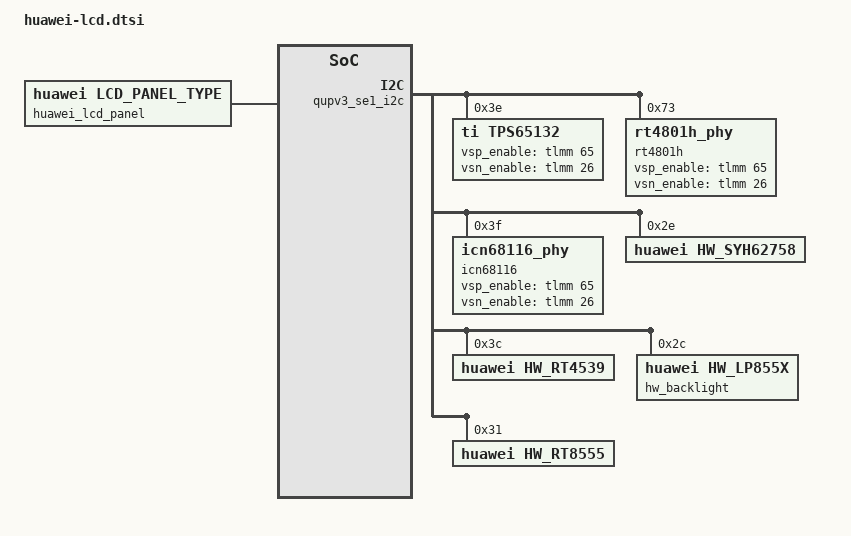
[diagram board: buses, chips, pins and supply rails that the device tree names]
#include "../../../lcdkit3.0/ags5/devkit_lcd_kit.dtsi"
&huawei_lcd_panel {
	compatible = "huawei,lcd_panel_type";
	/* auto_key_info @ name: product_id type: uint32 default: 0 */
	product_id = <13000>;
	/* auto_key_info @ name: product_type type: uint32 default: 0 */
	product_type = <0>;
	detect_type = <2>;
	/* auto_key_info @ name: gpio_id[2] type: int default: 0 */
	gpio_id = <52 68>;
	/* auto_key_info @ name: tp_reset_gpio type: uint32 default: 0 */
	tp_reset_gpio = <86>;
	bias_ctrl_type = <3>;
	/* auto_key_info @ name: vsp_gpio_id type: uint32 default: 0 */
	vsp_gpio_id = <65>;
	/* auto_key_info @ name: vsn_gpio_id type: uint32 default: 0 */
	vsn_gpio_id = <26>;
	/* auto_key_info @ name: lcd_reset_gpio type: uint32 default: 0 */
	lcd_reset_gpio = <82>;
	/* auto_key_info @ name: te_gpio type: uint32 default: 0 */
	te_gpio = <0>;
	/* auto_key_info @ name: bl_en_gpio type: uint32 default: 0 */
	bl_en_gpio = <27>;
	/* auto_key_info @ name: bl_is_dual type: uint32 default: 0 */
	bl_is_dual = <0>;
	/* auto_key_info @ name: bl_bias_together type: uint32 default: 1 */
	bl_bias_together = <0>;
	support_lcd_type = "LCD_KIT";
};

&mdss_dsi_phy0 {
	qcom,dsi-drive-adjustment = <1>;
	qcom,glbl-str-swi-cal-sel-ctrl = <0x01>;
	qcom,glbl-hstx-str-ctrl-0 = <0xff>;
	qcom,vreg-ctrl-0 = <0x52>;
};

&tlmm {
	bkl_active: bkl_active{
		mux {
			pins = "gpio27";
			function = "gpio";
		};

		config {
			pins = "gpio27";
			drive-strength = <2>;
			bias-disable;
		};
	};

	bkl_suspend: bkl_suspend{
		mux {
			pins = "gpio27";
			function = "gpio";
		};

		config {
			pins = "gpio27";
			drive-strength = <2>;
			bias-disable;
		};
	};
};

&qupv3_se1_i2c {
	status = "ok";

	tps65132@3e {
		compatible = "ti,tps65132";
		reg = <0x3e>;
		gpio_vsp_enable = <&tlmm 65 0x00>;
		gpio_vsn_enable = <&tlmm 26 0x00>;
		probe_no_init = <1>;
	};

	rt4801h@73 {
		compatible = "rt4801h_phy";
		reg = <0x73>;
		gpio_vsp_enable = <&tlmm 65 0x00>;
		gpio_vsn_enable = <&tlmm 26 0x00>;
		probe_no_init = <1>;
	};

	icn68116@3f {
		compatible = "icn68116_phy";
		reg = <0x3f>;
		gpio_vsp_enable = <&tlmm 65 0x00>;
		gpio_vsn_enable = <&tlmm 26 0x00>;
		probe_no_init = <1>;
	};

	hw_syh62758@2e {
		status = "ok";
		compatible = "huawei,hw_syh62758";
		reg = <0x2e>;
		bl_type_string = "62758";

		hw_syh62758,hw_enable = <1>;
		hw_syh62758,hw_en_gpio = <27>;
		hw_syh62758,gpio_offset = <1167>;
		hw_syh62758,before_bl_on_mdelay = <45>;
		hw_syh62758,bl_on_mdelay = <10>;
		hw_syh62758,hw_en_pull_low = <1>;
		hw_syh62758,backlight_ic_only_backlight = <1>;
		hw_syh62758,backlight_ic_backlight_level = <3932>;
		hw_syh62758,backlight_ic_kernel_ctrl_mode = <0>;
		hw_syh62758,backlight_ic_level_10000 = <0>;
		hw_syh62758,backlight_ic_bits_compatible = <1>;
		hw_syh62758,backlight_ic_level_lsb_cmd = <0x08 0x10 0x00 0xff>;
		hw_syh62758,backlight_ic_level_msb_cmd = <0x04 0x11 0x00 0x0f>;
		hw_syh62758,backlight_ic_pull_boost_support = <0>;
		hw_syh62758,backlight_ic_pull_boost_delay = <0>;
		hw_syh62758,backlight_ic_pull_down_vsp_cmd = <0x01 0x0d 0x00 0xff 0x00>;
		hw_syh62758,backlight_ic_pull_down_vsn_cmd = <0x01 0x0e 0x00 0xff 0x00>;
		hw_syh62758,backlight_ic_pull_down_boost_cmd = <0x01 0x0c 0x14 0xff 0x00>;
		hw_syh62758,backlight_ic_fault_check_support = <0>;
		hw_syh62758,backlight_ic_ovp_flag_cmd = <0x00 0x0f 0x02 0x02 0x00>;
		hw_syh62758,backlight_ic_ocp_flag_cmd = <0x00 0x0f 0x01 0x01 0x00>;
		hw_syh62758,backlight_ic_tsd_flag_cmd = <0x00 0x0f 0x40 0x40 0x00>;
		hw_syh62758,backlight_ic_kernel_init_cmd = <0x01 0x01 0x85 0xff 0x00
						0x01 0xa2 0x20 0xff 0x00
						0x01 0xa0 0xff 0xff 0x00
						0x01 0xa1 0xdf 0xff 0x00
						0x01 0xa3 0x3e 0xff 0x00
						0x01 0xa4 0x02 0xff 0x00
						0x01 0xa5 0x00 0xff 0x00
						0x01 0xa6 0x40 0xff 0x00
						0x01 0xa7 0xf7 0xff 0x00
						0x01 0xa9 0x80 0xff 0x00
						0x01 0xaa 0x0f 0xff 0x00
						0x01 0xae 0x0e 0xff 0x00
						0x01 0x9e 0x22 0xff 0x00
						0x01 0x16 0x3f 0xff 0x00
						0x01 0x00 0x00 0x00 0x00
						0x01 0x01 0x84 0xff 0x02
						0x01 0x9e 0x02 0xff 0x01
						0x01 0x9e 0x22 0xff 0x00>;
		hw_syh62758,backlight_ic_num_of_kernel_init_cmd = <18>;
	};

	hw_rt4539@3c {
		status = "ok";
		compatible = "huawei,hw_rt4539";
		reg = <0x3c>;
		bl_type_string = "4539";

		hw_rt4539,hw_enable = <1>;
		hw_rt4539,hw_en_gpio = <27>;
		hw_rt4539,gpio_offset = <1167>;
		hw_rt4539,before_bl_on_mdelay = <45>;
		hw_rt4539,bl_on_mdelay = <10>;
		hw_rt4539,hw_en_pull_low = <1>;
		hw_rt4539,backlight_ic_only_backlight = <1>;
		hw_rt4539,backlight_ic_backlight_level = <3932>;
		hw_rt4539,backlight_ic_kernel_ctrl_mode = <0>;
		hw_rt4539,backlight_ic_level_10000 = <0>;
		hw_rt4539,backlight_ic_bits_compatible = <1>;
		hw_rt4539,backlight_ic_level_lsb_cmd = <0x08 0x05 0x00 0xff>;
		hw_rt4539,backlight_ic_level_msb_cmd = <0x04 0x04 0x00 0x0f>;
		hw_rt4539,backlight_ic_set_msb_before_lsb = <1>;
		hw_rt4539,dimming_support = <0>;
		hw_rt4539,dimming_config_reg = <0x08>;
		hw_rt4539,dimming_config = <0x70>;
		hw_rt4539,backlight_ic_pull_boost_support = <0>;
		hw_rt4539,backlight_ic_pull_boost_delay = <0>;
		hw_rt4539,backlight_ic_pull_down_vsp_cmd = <0x01 0x0d 0x00 0xff 0x00>;
		hw_rt4539,backlight_ic_pull_down_vsn_cmd = <0x01 0x0e 0x00 0xff 0x00>;
		hw_rt4539,backlight_ic_pull_down_boost_cmd = <0x01 0x0c 0x14 0xff 0x00>;
		hw_rt4539,backlight_ic_fault_check_support = <0>;
		hw_rt4539,backlight_ic_ovp_flag_cmd = <0x00 0x0f 0x02 0x02 0x00>;
		hw_rt4539,backlight_ic_ocp_flag_cmd = <0x00 0x0f 0x01 0x01 0x00>;
		hw_rt4539,backlight_ic_tsd_flag_cmd = <0x00 0x0f 0x40 0x40 0x00>;
		hw_rt4539,backlight_ic_kernel_init_cmd = <0x01 0x0b 0x00 0xff 0x00
						0x01 0x00 0x24 0xff 0x00
						0x01 0x01 0x18 0xff 0x00
						0x01 0x02 0xA4 0xff 0x00
						0x01 0x03 0x24 0xff 0x00
						0x01 0x06 0x98 0xff 0x00
						0x01 0x07 0x01 0xff 0x00
						0x01 0x08 0x02 0xff 0x00
						0x01 0x09 0x78 0xff 0x00
						0x01 0x0a 0x0F 0xff 0x00
						0x01 0x0b 0xFE 0xff 0x00
						0x01 0xff 0x00 0xff 0x00>;
		hw_rt4539,backlight_ic_num_of_kernel_init_cmd = <12>;
	};

	hw_backlight@2c {
		status = "ok";
		compatible = "huawei,hw_lp855x";
		reg = <0x2c>;
		bl_type_string = "8556";

		hw_lp855x,hw_enable = <1>;
		hw_lp855x,hw_en_gpio = <27>;
		hw_lp855x,gpio_offset = <1167>;
		hw_lp855x,before_bl_on_mdelay = <45>;
		hw_lp855x,bl_on_mdelay = <10>;
		hw_lp855x,hw_en_pull_low = <1>;
		hw_lp855x,backlight_ic_only_backlight = <1>;
		hw_lp855x,backlight_ic_backlight_level = <3932>;
		hw_lp855x,backlight_ic_kernel_ctrl_mode = <0>;
		hw_lp855x,backlight_ic_level_10000 = <0>;
		hw_lp855x,backlight_ic_bits_compatible = <1>;
		hw_lp855x,backlight_ic_level_lsb_cmd = <0x08 0x10 0x00 0xff>;
		hw_lp855x,backlight_ic_level_msb_cmd = <0x04 0x11 0x00 0x0f>;
		hw_lp855x,backlight_ic_pull_boost_support = <0>;
		hw_lp855x,backlight_ic_pull_boost_delay = <0>;
		hw_lp855x,backlight_ic_pull_down_vsp_cmd = <0x01 0x0d 0x00 0xff 0x00>;
		hw_lp855x,backlight_ic_pull_down_vsn_cmd = <0x01 0x0e 0x00 0xff 0x00>;
		hw_lp855x,backlight_ic_pull_down_boost_cmd = <0x01 0x0c 0x14 0xff 0x00>;
		hw_lp855x,backlight_ic_fault_check_support = <0>;
		hw_lp855x,backlight_ic_ocp_flag_cmd = <0x00 0x02 0x04 0xff 0x00>;
		hw_lp855x,backlight_ic_kernel_init_cmd = <0x01 0x01 0x85 0xff 0x00
						0x01 0xa0 0xff 0xff 0x00
						0x01 0xa1 0xdf 0xff 0x00
						0x01 0xa2 0x28 0xff 0x00
						0x01 0xa3 0x52 0xff 0x00
						0x01 0xa4 0x12 0xff 0x00
						0x01 0xa5 0x00 0xff 0x00
						0x01 0xa6 0x40 0xff 0x00
						0x01 0xa7 0xf7 0xff 0x00
						0x01 0xa9 0x80 0xff 0x00
						0x01 0xaa 0x0f 0xff 0x00
						0x01 0xae 0x0e 0xff 0x00
						0x01 0x9e 0x22 0xff 0x00>;
		hw_lp855x,backlight_ic_num_of_kernel_init_cmd = <13>;
	};

	hw_rt8555@31 {
		status = "ok";
		compatible = "huawei,hw_rt8555";
		reg = <0x31>;
		bl_type_string = "8555";

		hw_rt8555,hw_enable = <1>;
		hw_rt8555,hw_en_gpio = <27>;
		hw_rt8555,gpio_offset = <1167>;
		hw_rt8555,before_bl_on_mdelay = <45>;
		hw_rt8555,bl_on_mdelay = <10>;
		hw_rt8555,hw_en_pull_low = <1>;
		hw_rt8555,backlight_ic_only_backlight = <1>;
		hw_rt8555,backlight_ic_backlight_level = <1023>;
		hw_rt8555,backlight_ic_kernel_ctrl_mode = <0>;
		hw_rt8555,backlight_ic_level_10000 = <0>;
		hw_rt8555,backlight_ic_bits_compatible = <1>;
		hw_rt8555,backlight_ic_level_lsb_cmd = <0x08 0x04 0x00 0xff>;
		hw_rt8555,backlight_ic_level_msb_cmd = <0x02 0x05 0x00 0x03>;
		hw_rt8555,dimming_support = <1>;
		hw_rt8555,dimming_config_reg = <0x08>;
		hw_rt8555,dimming_config = <0x70>;
		hw_rt8555,backlight_ic_pull_boost_support = <0>;
		hw_rt8555,backlight_ic_pull_boost_delay = <0>;
		hw_rt8555,backlight_ic_pull_down_vsp_cmd = <0x01 0x0d 0x00 0xff 0x00>;
		hw_rt8555,backlight_ic_pull_down_vsn_cmd = <0x01 0x0e 0x00 0xff 0x00>;
		hw_rt8555,backlight_ic_pull_down_boost_cmd = <0x01 0x0c 0x14 0xff 0x00>;
		hw_rt8555,backlight_ic_fault_check_support = <0>;
		hw_rt8555,backlight_ic_ovp_flag_cmd = <0x00 0x0f 0x02 0x02 0x00>;
		hw_rt8555,backlight_ic_ocp_flag_cmd = <0x00 0x0f 0x01 0x01 0x00>;
		hw_rt8555,backlight_ic_tsd_flag_cmd = <0x00 0x0f 0x40 0x40 0x00>;
		hw_rt8555,backlight_ic_kernel_init_cmd = <0x01 0x00 0xC3 0xff 0x00
						0x01 0x01 0xD3 0xff 0x00
						0x01 0x02 0xAF 0xff 0x00
						0x01 0x03 0x00 0xff 0x00
						0x01 0x08 0x10 0xff 0x00
						0x01 0x09 0x7F 0xff 0x00
						0x01 0x0a 0x04 0xff 0x00
						0x01 0x0b 0x00 0xff 0x00
						0x01 0x0d 0x00 0xff 0x00
						0x01 0x0e 0x00 0xff 0x00
						0x01 0x50 0x01 0xff 0x00>;
		hw_rt8555,backlight_ic_num_of_kernel_init_cmd = <11>;
	};
};


&sde_dsi {
	qcom,dsi-default-panel = <&dsi_ags5_auo_otm1901a_5p2_1080p_video_default>;
};
